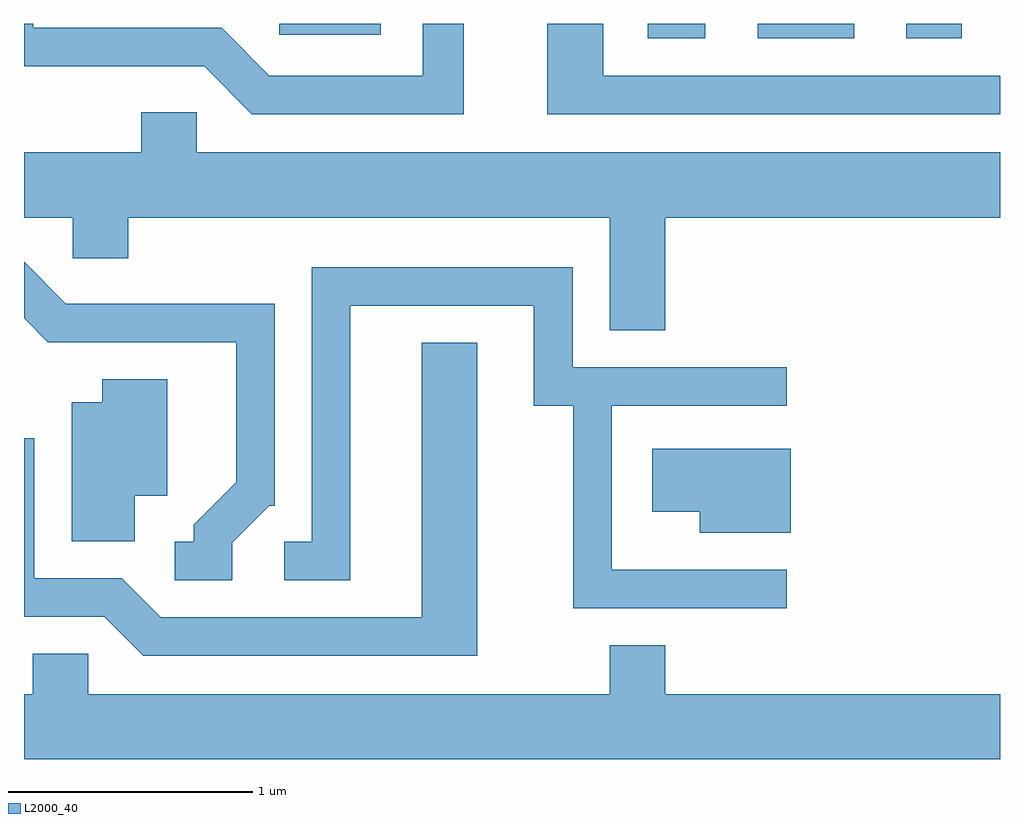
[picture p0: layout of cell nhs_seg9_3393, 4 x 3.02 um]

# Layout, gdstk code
import gdstk
lib = gdstk.Library(unit=1e-6, precision=1e-09)
def R(c, l, rs):  # rectangles x0, y0, x1, y1
    for r in rs: c.add(gdstk.rectangle(r[:2], r[2:], *l))
def P(c, l, *ps):  # polygons
    for p in ps: c.add(gdstk.Polygon(p, *l))
L2000_40 = (2000, 40)

nhs_seg9_3393 = lib.new_cell('nhs_seg9_3393')
R(nhs_seg9_3393, L2000_40, [(288.168,1950.371,288.404,1950.432), (288.618,1950.371,289.014,1950.432), (289.226,1950.371,289.454,1950.432), (286.658,1950.386,287.074,1950.432)])
P(nhs_seg9_3393, L2000_40, [(289.611,1950.219),(287.984,1950.219),(287.984,1950.432),(287.756,1950.432),(287.756,1950.061),(289.611,1950.061)],
  [(287.414,1950.432),(287.246,1950.432),(287.246,1950.219),(286.617,1950.219),(286.422,1950.414),(285.649,1950.414),(285.649,1950.432),(285.611,1950.432),(285.611,1950.256),(286.349,1950.256),(286.544,1950.061),(287.414,1950.061)],
  [(288.239,1949.636),(289.611,1949.636),(289.611,1949.904),(286.319,1949.904),(286.319,1950.069),(286.091,1950.069),(286.091,1949.904),(285.611,1949.904),(285.611,1949.636),(285.811,1949.636),(285.811,1949.471),(286.039,1949.471),(286.039,1949.636),(288.011,1949.636),(288.011,1949.176),(288.239,1949.176)],
  [(286.464,1948.304),(286.617,1948.456),(286.639,1948.456),(286.639,1949.284),(285.782,1949.284),(285.611,1949.455),(285.611,1949.224),(285.709,1949.126),(286.481,1949.126),(286.481,1948.552),(286.306,1948.377),(286.306,1948.309),(286.228,1948.309),(286.228,1948.151),(286.464,1948.151)],
  [(288.738,1948.194),(288.019,1948.194),(288.019,1948.866),(288.738,1948.866),(288.738,1949.024),(287.859,1949.024),(287.859,1949.434),(286.791,1949.434),(286.791,1948.309),(286.678,1948.309),(286.678,1948.151),(286.949,1948.151),(286.949,1949.276),(287.701,1949.276),(287.701,1948.866),(287.861,1948.866),(287.861,1948.036),(288.738,1948.036)],
  [(287.469,1949.124),(287.241,1949.124),(287.241,1947.999),(286.172,1947.999),(286.012,1948.159),(285.654,1948.159),(285.654,1948.733),(285.611,1948.733),(285.611,1948.001),(285.939,1948.001),(286.099,1947.841),(287.469,1947.841)],
  [(286.064,1948.496),(286.199,1948.496),(286.199,1948.974),(285.931,1948.974),(285.931,1948.879),(285.806,1948.879),(285.806,1948.311),(286.064,1948.311)],
  [(288.754,1948.689),(288.186,1948.689),(288.186,1948.431),(288.381,1948.431),(288.381,1948.346),(288.754,1948.346)],
  [(289.611,1947.684),(288.239,1947.684),(288.239,1947.884),(288.011,1947.884),(288.011,1947.684),(285.874,1947.684),(285.874,1947.849),(285.646,1947.849),(285.646,1947.684),(285.611,1947.684),(285.611,1947.416),(289.611,1947.416)])

lib.write_gds('nhs_seg9_3393.gds')
